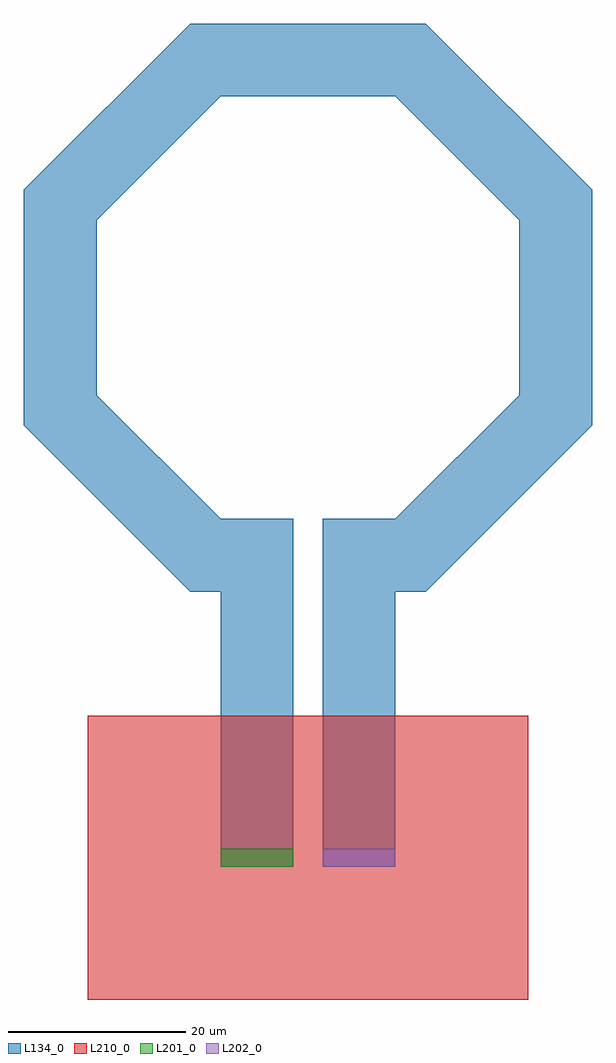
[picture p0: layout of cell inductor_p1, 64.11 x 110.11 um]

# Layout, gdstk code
import gdstk
lib = gdstk.Library(unit=1e-6, precision=1e-09)
def R(c, l, rs):  # rectangles x0, y0, x1, y1
    for r in rs: c.add(gdstk.rectangle(r[:2], r[2:], *l))
def P(c, l, *ps):  # polygons
    for p in ps: c.add(gdstk.Polygon(p, *l))
L134_0 = (134, 0)
L201_0 = (201, 0)
L202_0 = (202, 0)
L210_0 = (210, 0)

inductor_p1 = lib.new_cell('inductor_p1')
R(inductor_p1, L134_0, [(-9.865,-1,-1.645,38.22), (1.645,-1,9.865,38.22), (-8.835,85.89,8.835,94.11)])
P(inductor_p1, L134_0, [(1.645,30),(1.645,38.22),(9.87,38.22),(23.835,52.185),(23.835,71.925),(9.87,85.89),(8.835,85.89),(8.835,94.11),(13.285,94.11),(32.055,75.34),(32.055,48.77),(13.285,30)],
  [(-13.285,30),(-32.055,48.77),(-32.055,75.34),(-13.285,94.11),(-8.835,94.11),(-8.835,85.89),(-9.87,85.89),(-23.835,71.925),(-23.835,52.185),(-9.87,38.22),(-1.645,38.22),(-1.645,30)])
R(inductor_p1, L201_0, [(-9.865,-1,-1.645,1)])
R(inductor_p1, L202_0, [(1.645,-1,9.865,1)])
R(inductor_p1, L210_0, [(-24.865,-16,24.865,16)])

lib.write_gds('inductor_p1.gds')
